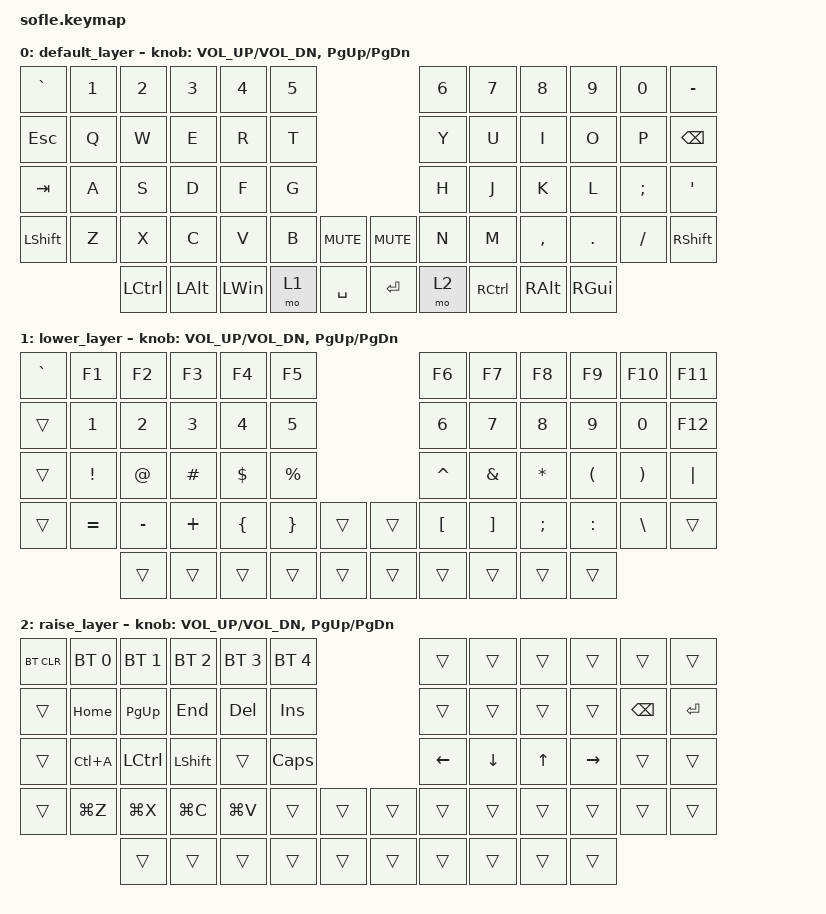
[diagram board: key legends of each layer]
/*
 * Copyright (c) 2020 The ZMK Contributors
 *
 * SPDX-License-Identifier: MIT
 */

#include <behaviors.dtsi>
#include <dt-bindings/zmk/bt.h>
#include <dt-bindings/zmk/keys.h>

/ {
    keymap {
        compatible = "zmk,keymap";

        default_layer {
            bindings = <
&kp GRAVE       &kp N1  &kp N2     &kp N3    &kp N4        &kp N5                            &kp N6  &kp N7     &kp N8     &kp N9    &kp N0    &kp MINUS
&kp ESC         &kp Q   &kp W      &kp E     &kp R         &kp T                             &kp Y   &kp U      &kp I      &kp O     &kp P     &kp BSPC
&kp TAB         &kp A   &kp S      &kp D     &kp F         &kp G                             &kp H   &kp J      &kp K      &kp L     &kp SEMI  &kp SQT
&kp LEFT_SHIFT  &kp Z   &kp X      &kp C     &kp V         &kp B   &kp C_MUTE    &kp C_MUTE  &kp N   &kp M      &kp COMMA  &kp DOT   &kp FSLH  &kp RSHFT
                        &kp LCTRL  &kp LALT  &kp LEFT_WIN  &mo 1   &kp SPACE     &kp RET     &mo 2   &kp RCTRL  &kp RALT   &kp RGUI
            >;

            sensor-bindings = <&inc_dec_kp C_VOL_UP C_VOL_DN &inc_dec_kp PG_UP PG_DN>;
        };

        lower_layer {
            bindings = <
&kp GRAVE  &kp F1        &kp F2        &kp F3        &kp F4          &kp F5                             &kp F6            &kp F7             &kp F8        &kp F9                &kp F10                &kp F11
&trans     &kp NUMBER_1  &kp NUMBER_2  &kp NUMBER_3  &kp NUMBER_4    &kp N5                             &kp N6            &kp N7             &kp N8        &kp N9                &kp N0                 &kp F12
&trans     &kp EXCL      &kp AT        &kp HASH      &kp DOLLAR      &kp PERCENT                        &kp CARET         &kp AMPS           &kp ASTERISK  &kp LEFT_PARENTHESIS  &kp RIGHT_PARENTHESIS  &kp PIPE
&trans     &kp EQUAL     &kp MINUS     &kp PLUS      &kp LEFT_BRACE  &kp RIGHT_BRACE  &trans    &trans  &kp LEFT_BRACKET  &kp RIGHT_BRACKET  &kp SEMI      &kp COLON             &kp BACKSLASH          &trans
                         &trans        &trans        &trans          &trans           &trans    &trans  &trans            &trans             &trans        &trans
            >;

            sensor-bindings = <&inc_dec_kp C_VOL_UP C_VOL_DN &inc_dec_kp PG_UP PG_DN>;
        };

        raise_layer {
            bindings = <
&bt BT_CLR  &bt BT_SEL 0  &bt BT_SEL 1  &bt BT_SEL 2  &bt BT_SEL 3  &bt BT_SEL 4                    &trans    &trans    &trans  &trans     &trans    &trans
&trans      &kp HOME      &kp PG_UP     &kp END       &kp DEL       &kp INS                         &trans    &trans    &trans  &trans     &kp BSPC  &kp RET
&trans      &kp LC(A)     &kp LCTRL     &kp LSHFT     &trans        &kp CLCK                        &kp LEFT  &kp DOWN  &kp UP  &kp RIGHT  &trans    &trans
&trans      &kp LG(Z)     &kp LG(X)     &kp LG(C)     &kp LG(V)     &trans        &trans    &trans  &trans    &trans    &trans  &trans     &trans    &trans
                          &trans        &trans        &trans        &trans        &trans    &trans  &trans    &trans    &trans  &trans
            >;

            sensor-bindings = <&inc_dec_kp C_VOL_UP C_VOL_DN &inc_dec_kp PG_UP PG_DN>;
        };
    };
};
